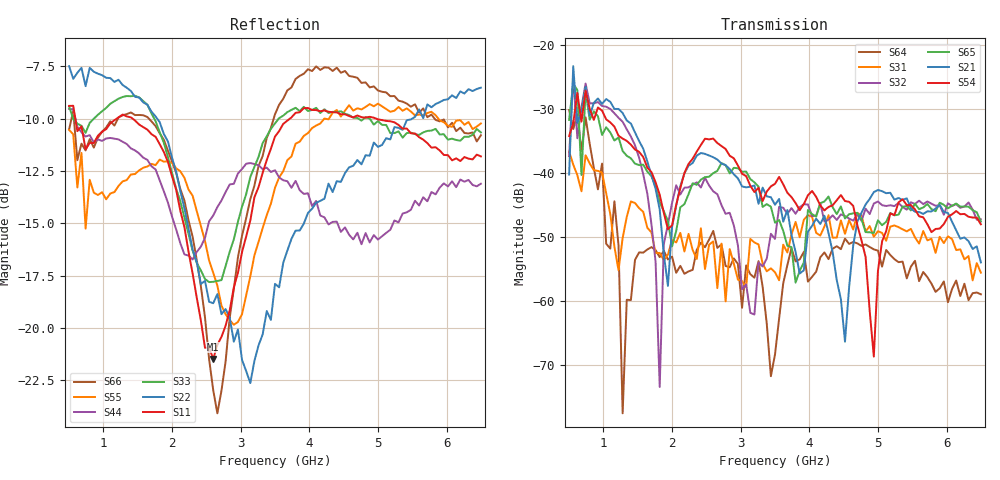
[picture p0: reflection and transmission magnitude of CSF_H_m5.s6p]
!Keysight Technologies,M9804A,MY58100912,A.14.10.03
!Date: Thursday, April 27, 2023 10:28:33
!Correction: S11(C  6-Port  )
!S12(C  6-Port  )
!S13(C  6-Port  )
!S14(C  6-Port  )
!S15(C  6-Port  )
!S16(C  6-Port  )
!S21(C  6-Port  )
!S22(C  6-Port  )
!S23(C  6-Port  )
!S24(C  6-Port  )
!S25(C  6-Port  )
!S26(C  6-Port  )
!S31(C  6-Port  )
!S32(C  6-Port  )
!S33(C  6-Port  )
!S34(C  6-Port  )
!S35(C  6-Port  )
!S36(C  6-Port  )
!S41(C  6-Port  )
!S42(C  6-Port  )
!S43(C  6-Port  )
!S44(C  6-Port  )
!S45(C  6-Port  )
!S46(C  6-Port  )
!S51(C  6-Port  )
!S52(C  6-Port  )
!S53(C  6-Port  )
!S54(C  6-Port  )
!S55(C  6-Port  )
!S56(C  6-Port  )
!S61(C  6-Port  )
!S62(C  6-Port  )
!S63(C  6-Port  )
!S64(C  6-Port  )
!S65(C  6-Port  )
!S66(C  6-Port  )
!S6P File: Measurement: :
# Hz S  RI  R 50
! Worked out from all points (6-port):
!   101 points, 500 MHz to 6.5 GHz, reference 50 ohm
!   strongest paths, dB at 500 MHz, 2 GHz, 3.5 GHz, 5 GHz, 6.5 GHz:
!     S54: -34.3, -48.2, -41.7, -55.3, -48.0
!     S21: -40.3, -48.4, -45.0, -42.7, -54.0
!     S65: -31.7, -51.5, -47.8, -47.4, -47.6
!     S32: -37.4, -44.7, -50.3, -44.5, -47.2
!     S31: -36.7, -50.5, -55.5, -49.1, -55.6
!     S64: -30.2, -53.1, -68.3, -52.1, -58.9
!   lowest |S11| = -21.5 dB at 2.6 GHz (marker M1), VSWR 1.18, Z = 42.5 + j2.18 ohm
!   |S11| at or under -10 dB: 590.6 MHz to 1.191 GHz (600.6 MHz wide, 67.4 % of centre); 1.426 GHz to 3.715 GHz (2.289 GHz wide, 89.1 % of centre); 4.977 GHz to end of sweep
